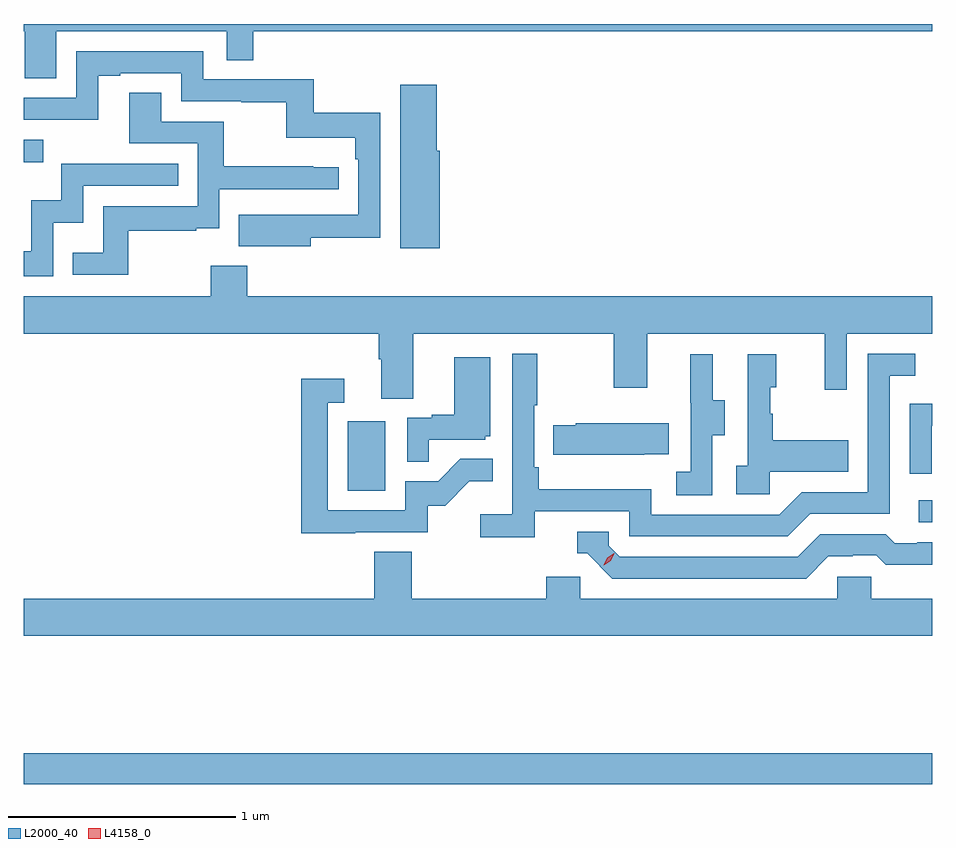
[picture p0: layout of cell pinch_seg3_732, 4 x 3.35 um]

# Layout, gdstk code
import gdstk
lib = gdstk.Library(unit=1e-6, precision=1e-09)
def R(c, l, rs):  # rectangles x0, y0, x1, y1
    for r in rs: c.add(gdstk.rectangle(r[:2], r[2:], *l))
def P(c, l, *ps):  # polygons
    for p in ps: c.add(gdstk.Polygon(p, *l))
L2000_40 = (2000, 40)
L4158_0 = (4158, 0)

pinch_seg3_732 = lib.new_cell('pinch_seg3_732')
R(pinch_seg3_732, L2000_40, [(866.301,745.552,870.301,745.688), (870.243,746.706,870.301,746.802), (867.728,746.844,867.892,747.151), (866.301,748.292,866.386,748.389)])
P(pinch_seg3_732, L2000_40, [(866.443,748.868),(867.195,748.868),(867.195,748.741),(867.311,748.741),(867.311,748.868),(870.301,748.868),(870.301,748.9),(866.301,748.9),(866.301,748.868),(866.304,748.868),(866.304,748.66),(866.443,748.66)],
  [(867.565,747.958),(867.87,747.958),(867.87,748.51),(867.577,748.51),(867.577,748.656),(867.09,748.656),(867.09,748.779),(866.532,748.779),(866.532,748.575),(866.301,748.575),(866.301,748.479),(866.424,748.479),(866.424,748.478),(866.629,748.478),(866.629,748.671),(866.725,748.671),(866.725,748.683),(866.994,748.683),(866.994,748.56),(867.259,748.56),(867.259,748.555),(867.456,748.555),(867.456,748.4),(867.761,748.4),(867.761,748.304),(867.774,748.304),(867.774,748.059),(867.461,748.059),(867.461,748.06),(867.247,748.06),(867.247,747.92),(867.565,747.92)],
  [(868.132,748.341),(868.12,748.341),(868.12,748.633),(867.959,748.633),(867.959,747.912),(868.132,747.912)],
  [(866.761,747.99),(867.059,747.99),(867.059,748.001),(867.162,748.001),(867.162,748.173),(867.688,748.173),(867.688,748.269),(867.575,748.269),(867.575,748.274),(867.182,748.274),(867.182,748.47),(866.905,748.47),(866.905,748.598),(866.765,748.598),(866.765,748.374),(867.066,748.374),(867.066,748.098),(866.65,748.098),(866.65,747.892),(866.515,747.892),(866.515,747.795),(866.761,747.795)],
  [(866.43,748.025),(866.562,748.025),(866.562,748.188),(866.981,748.188),(866.981,748.284),(866.466,748.284),(866.466,748.123),(866.333,748.123),(866.333,747.898),(866.301,747.898),(866.301,747.789),(866.43,747.789)],
  [(868.015,747.536),(868.9,747.536),(868.9,747.297),(869.047,747.297),(869.047,747.536),(869.828,747.536),(869.828,747.288),(869.925,747.288),(869.925,747.536),(870.301,747.536),(870.301,747.7),(867.284,747.7),(867.284,747.835),(867.124,747.835),(867.124,747.7),(866.301,747.7),(866.301,747.536),(867.863,747.536),(867.863,747.424),(867.875,747.424),(867.875,747.25),(868.015,747.25)],
  [(868.55,746.754),(868.968,746.754),(868.968,746.643),(869.665,746.643),(869.764,746.742),(870.114,746.742),(870.114,747.351),(870.227,747.351),(870.227,747.447),(870.018,747.447),(870.018,746.838),(869.727,746.838),(869.628,746.739),(869.064,746.739),(869.064,746.851),(868.568,746.851),(868.568,746.947),(868.548,746.947),(868.548,747.22),(868.561,747.22),(868.561,747.448),(868.452,747.448),(868.452,746.74),(868.311,746.74),(868.311,746.638),(868.55,746.638)],
  [(869.334,747.088),(869.389,747.088),(869.389,747.243),(869.335,747.243),(869.335,747.445),(869.237,747.445),(869.237,747.231),(869.238,747.231),(869.238,746.927),(869.175,746.927),(869.175,746.824),(869.334,746.824)],
  [(869.586,746.927),(869.933,746.927),(869.933,747.067),(869.599,747.067),(869.599,747.182),(869.589,747.182),(869.589,747.3),(869.614,747.3),(869.614,747.445),(869.49,747.445),(869.49,746.954),(869.439,746.954),(869.439,746.829),(869.586,746.829)],
  [(868.085,747.069),(868.332,747.069),(868.332,747.084),(868.354,747.084),(868.354,747.433),(868.196,747.433),(868.196,747.178),(868.097,747.178),(868.097,747.165),(867.99,747.165),(867.99,746.971),(868.085,746.971)],
  [(867.761,746.661),(868.08,746.661),(868.08,746.778),(868.156,746.778),(868.263,746.885),(868.367,746.885),(868.367,746.984),(868.223,746.984),(868.125,746.886),(867.981,746.886),(867.981,746.757),(867.639,746.757),(867.639,747.231),(867.712,747.231),(867.712,747.337),(867.523,747.337),(867.523,746.656),(867.761,746.656)],
  [(870.3,747.131),(870.301,747.131),(870.301,747.228),(870.204,747.228),(870.204,746.919),(870.3,746.919)],
  [(869.033,747.005),(869.141,747.005),(869.141,747.142),(868.731,747.142),(868.731,747.132),(868.633,747.132),(868.633,747.002),(869.033,747.002)],
  [(869.845,746.556),(869.952,746.556),(869.952,746.559),(870.055,746.559),(870.097,746.517),(870.301,746.517),(870.301,746.616),(870.235,746.616),(870.235,746.613),(870.136,746.613),(870.097,746.652),(869.808,746.652),(869.709,746.553),(868.926,746.553),(868.878,746.601),(868.878,746.664),(868.739,746.664),(868.739,746.568),(868.782,746.568),(868.893,746.457),(869.746,746.457)],
  [(870.301,746.368),(870.033,746.368),(870.033,746.466),(869.883,746.466),(869.883,746.368),(868.752,746.368),(868.752,746.466),(868.601,746.466),(868.601,746.368),(868.01,746.368),(868.01,746.576),(867.845,746.576),(867.845,746.368),(866.301,746.368),(866.301,746.204),(870.301,746.204)])
P(pinch_seg3_732, L4158_0, [(868.854,746.516),(868.854,746.516),(868.87,746.548),(868.901,746.568),(868.901,746.568),(868.901,746.567),(868.885,746.535),(868.855,746.516)])

lib.write_gds('pinch_seg3_732.gds')
